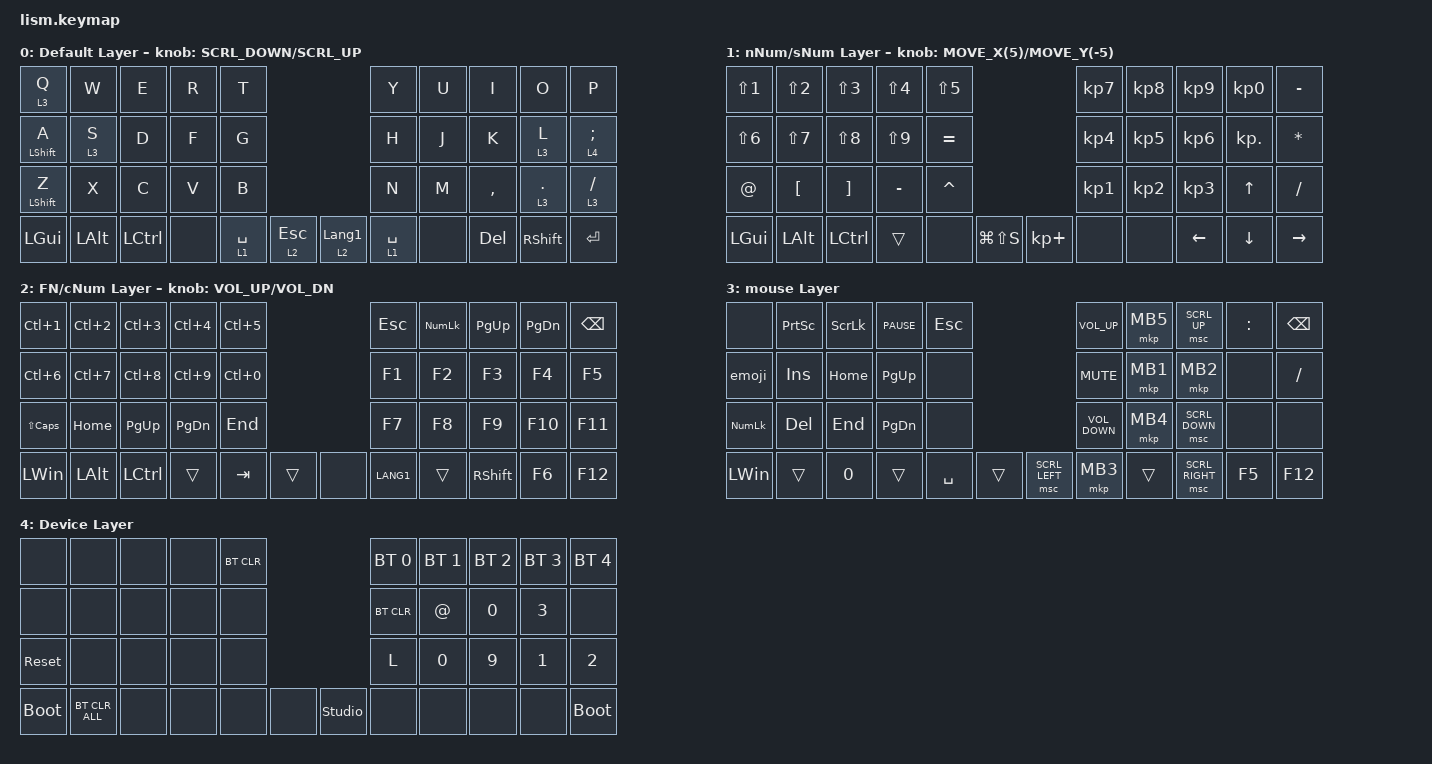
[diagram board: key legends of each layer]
#define ZMK_POINTING_DEFAULT_SCRL_VAL 200

#include <dt-bindings/zmk/mouse.h>
#include <behaviors.dtsi>
#include <dt-bindings/zmk/bt.h>
#include <dt-bindings/zmk/keys.h>
#include <dt-bindings/zmk/pointing.h>

&mt {
    tapping-term-ms = <300>;
    flavor = "balanced";
};

&lt { quick-tap-ms = <300>; };

/ {
    macros {
        emoji: emoji_macro {
            compatible = "zmk,behavior-macro";
            label = "EMOJI";
            #binding-cells = <0>;
            bindings =
                <&macro_press>,
                <&kp CAPSLOCK>,
                <&macro_tap>,
                <&kp E>,
                <&macro_release>,
                <&kp CAPSLOCK>;
        };
    };

    behaviors {
        encoder_msc: sensor_rotate_msc {
            compatible = "zmk,behavior-sensor-rotate-var";
            #sensor-binding-cells = <2>;
            bindings = <&msc>, <&msc>;

            tap-ms = <20>;
        };

        encoder_kp: sensor_rotate_kp {
            compatible = "zmk,behavior-sensor-rotate-var";
            #sensor-binding-cells = <2>;
            bindings = <&kp>, <&kp>;
        };
    };

    keymap {
        compatible = "zmk,keymap";

        default_layer {
            display-name = "Default Layer";
            bindings = <
&lt 3 Q           &kp W         &kp E      &kp R  &kp T                                       &kp Y        &kp U  &kp I       &kp O            &kp P
&mt LEFT_SHIFT A  &lt 3 S       &kp D      &kp F  &kp G                                       &kp H        &kp J  &kp K       &lt 3 L          &lt 4 SEMICOLON
&mt LEFT_SHIFT Z  &kp X         &kp C      &kp V  &kp B                                       &kp N        &kp M  &kp COMMA   &lt 3 PERIOD     &lt 3 SLASH
&kp LEFT_GUI      &kp LEFT_ALT  &kp LCTRL  &none  &lt 1 SPACE  &lt 2 ESC    &lt 2 LANGUAGE_1  &lt 1 SPACE  &none  &kp DELETE  &kp RIGHT_SHIFT  &kp ENTER
            >;

            sensor-bindings = <&encoder_msc SCRL_DOWN SCRL_UP>;
        };

        layer_1 {
            display-name = "nNum/sNum Layer";
            bindings = <
&kp LS(N1)        &kp LS(NUMBER_2)  &kp LS(NUMBER_3)   &kp LS(NUMBER_4)  &kp LS(NUMBER_5)                                &kp KP_NUMBER_7  &kp KP_NUMBER_8  &kp KP_NUMBER_9  &kp KP_NUMBER_0  &kp MINUS
&kp LS(NUMBER_6)  &kp LS(NUMBER_7)  &kp LS(NUMBER_8)   &kp LS(NUMBER_9)  &kp EQUAL                                       &kp KP_NUMBER_4  &kp KP_NUMBER_5  &kp KP_NUMBER_6  &kp KP_DOT       &kp ASTERISK
&kp AT            &kp LEFT_BRACKET  &kp RIGHT_BRACKET  &kp MINUS         &kp CARET                                       &kp KP_NUMBER_1  &kp KP_NUMBER_2  &kp KP_NUMBER_3  &kp UP           &kp SLASH
&kp LEFT_GUI      &kp LEFT_ALT      &kp LCTRL          &trans            &none             &kp LG(LS(S))    &kp KP_PLUS  &none            &none            &kp LEFT         &kp DOWN_ARROW   &kp RIGHT
            >;

            sensor-bindings = <&encoder_msc MOVE_X(5) MOVE_Y(-5)>;
        };

        layer_2 {
            display-name = "FN/cNum Layer";
            bindings = <
&kp LC(NUMBER_1)  &kp LC(NUMBER_2)  &kp LC(NUMBER_3)  &kp LC(NUMBER_4)  &kp LC(NUMBER_5)                   &kp ESC    &kp KP_NLCK  &kp PG_UP   &kp PG_DN  &kp BACKSPACE
&kp LC(NUMBER_6)  &kp LC(NUMBER_7)  &kp LC(NUMBER_8)  &kp LC(NUMBER_9)  &kp LC(NUMBER_0)                   &kp F1     &kp F2       &kp F3      &kp F4     &kp F5
&kp LS(CAPSLOCK)  &kp HOME          &kp PAGE_UP       &kp PAGE_DOWN     &kp END                            &kp F7     &kp F8       &kp F9      &kp F10    &kp F11
&kp LEFT_WIN      &kp LEFT_ALT      &kp LCTRL         &trans            &kp TAB           &trans    &none  &kp LANG1  &trans       &kp RSHIFT  &kp F6     &kp F12
            >;

            sensor-bindings = <&encoder_kp C_VOL_UP C_VOL_DN>;
        };

        layer_3 {
            display-name = "mouse Layer";
            bindings = <
&none           &kp PRINTSCREEN  &kp SCROLLLOCK  &kp C_PAUSE    &kp ESC                              &kp C_VOLUME_UP    &mkp MB5  &msc SCRL_UP     &kp COLON  &kp BACKSPACE
&emoji          &kp INSERT       &kp HOME        &kp PG_UP      &none                                &kp K_MUTE         &mkp MB1  &mkp MB2         &none      &kp SLASH
&kp KP_NUMLOCK  &kp DELETE       &kp END         &kp PAGE_DOWN  &none                                &kp C_VOLUME_DOWN  &mkp MB4  &msc SCRL_DOWN   &none      &none
&kp LEFT_WIN    &trans           &kp NUMBER_0    &trans         &kp SPACE  &trans    &msc SCRL_LEFT  &mkp MB3           &trans    &msc SCRL_RIGHT  &kp F5     &kp F12
            >;
        };

        layer_4 {
            display-name = "Device Layer";
            bindings = <
&none        &none           &none  &none  &bt BT_CLR                           &bt BT_SEL 0  &bt BT_SEL 1  &bt BT_SEL 2  &bt BT_SEL 3  &bt BT_SEL 4
&none        &none           &none  &none  &none                                &bt BT_CLR    &kp AT_SIGN   &kp NUMBER_0  &kp NUMBER_3  &none
&sys_reset   &none           &none  &none  &none                                &kp L         &kp N0        &kp NUMBER_9  &kp NUMBER_1  &kp NUMBER_2
&bootloader  &bt BT_CLR_ALL  &none  &none  &none       &none    &studio_unlock  &none         &none         &none         &none         &bootloader
            >;
        };

        layer_5 {
            status = "reserved";
            display-name = "Brank Layer";
            bindings = <
&trans  &trans  &trans  &trans  &trans                    &trans  &trans  &trans  &trans  &trans
&trans  &trans  &trans  &trans  &trans                    &trans  &trans  &trans  &trans  &trans
&trans  &trans  &trans  &trans  &trans                    &trans  &trans  &trans  &trans  &trans
&trans  &trans  &trans  &trans  &trans  &trans    &trans  &trans  &trans  &trans  &trans  &trans
            >;
        };

        layer_6 {
            status = "reserved";
            display-name = "Brank Layer";
            bindings = <
&trans  &trans  &trans  &trans  &trans                    &trans  &trans  &trans  &trans  &trans
&trans  &trans  &trans  &trans  &trans                    &trans  &trans  &trans  &trans  &trans
&trans  &trans  &trans  &trans  &trans                    &trans  &trans  &trans  &trans  &trans
&trans  &trans  &trans  &trans  &trans  &trans    &trans  &trans  &trans  &trans  &trans  &trans
            >;
        };

        layer_7 {
            status = "reserved";
            display-name = "Brank Layer";
            bindings = <
&trans  &trans  &trans  &trans  &trans                    &trans  &trans  &trans  &trans  &trans
&trans  &trans  &trans  &trans  &trans                    &trans  &trans  &trans  &trans  &trans
&trans  &trans  &trans  &trans  &trans                    &trans  &trans  &trans  &trans  &trans
&trans  &trans  &trans  &trans  &trans  &trans    &trans  &trans  &trans  &trans  &trans  &trans
            >;
        };
    };
};
